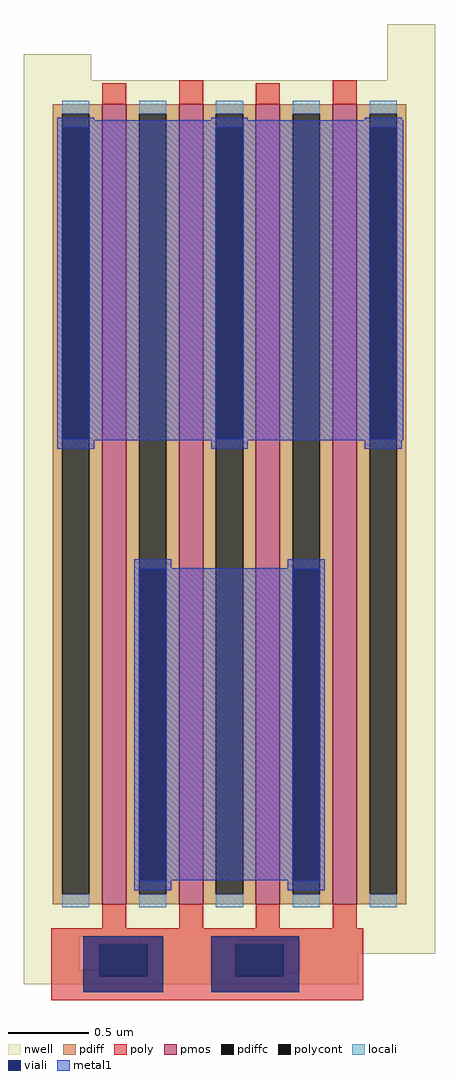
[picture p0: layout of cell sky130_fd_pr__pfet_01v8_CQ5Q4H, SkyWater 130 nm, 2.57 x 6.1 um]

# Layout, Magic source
magic
tech sky130A
magscale 1 2
<< nwell >>
rect -257 530 -173 562
rect 197 530 257 600
rect -257 -541 257 530
rect -257 -582 -188 -541
rect -111 -545 257 -541
rect -111 -582 11 -545
rect -257 -586 11 -582
rect 88 -562 257 -545
rect 88 -586 161 -562
rect -257 -600 161 -586
<< pmos >>
rect -159 -500 -129 500
rect -63 -500 -33 500
rect 33 -500 63 500
rect 129 -500 159 500
<< pdiff >>
rect -221 488 -159 500
rect -221 -488 -209 488
rect -175 -488 -159 488
rect -221 -500 -159 -488
rect -129 488 -63 500
rect -129 -488 -113 488
rect -79 -488 -63 488
rect -129 -500 -63 -488
rect -33 488 33 500
rect -33 -488 -17 488
rect 17 -488 33 488
rect -33 -500 33 -488
rect 63 488 129 500
rect 63 -488 79 488
rect 113 -488 129 488
rect 63 -500 129 -488
rect 159 488 221 500
rect 159 -488 175 488
rect 209 -488 221 488
rect 159 -500 221 -488
<< pdiffc >>
rect -209 -488 -175 488
rect -113 -488 -79 488
rect -17 -488 17 488
rect 79 -488 113 488
rect 175 -488 209 488
<< poly >>
rect -159 500 -129 526
rect -63 500 -33 530
rect 33 500 63 526
rect 129 500 159 530
rect -159 -530 -129 -500
rect -63 -530 -33 -500
rect 33 -530 63 -500
rect 129 -530 159 -500
rect -223 -550 167 -530
rect -223 -590 -163 -550
rect -103 -590 7 -550
rect 67 -590 167 -550
rect -223 -620 167 -590
<< polycont >>
rect -163 -590 -103 -550
rect 7 -590 67 -550
<< locali >>
rect -209 488 -175 504
rect -209 -504 -175 -488
rect -113 488 -79 504
rect -113 -504 -79 -488
rect -17 488 17 504
rect -17 -504 17 -488
rect 79 488 113 504
rect 79 -504 113 -488
rect 175 488 209 504
rect 175 -504 209 -488
<< viali >>
rect -209 81 -175 471
rect -113 -471 -79 -81
rect -17 81 17 471
rect 79 -471 113 -81
rect 175 81 209 471
rect -183 -550 -83 -540
rect -183 -590 -163 -550
rect -163 -590 -103 -550
rect -103 -590 -83 -550
rect -183 -610 -83 -590
rect -23 -550 87 -540
rect -23 -590 7 -550
rect 7 -590 67 -550
rect 67 -590 87 -550
rect -23 -610 87 -590
<< metal1 >>
rect -215 480 -169 483
rect -23 480 23 483
rect 169 480 215 483
rect -215 471 217 480
rect -215 81 -209 471
rect -175 81 -17 471
rect 17 81 175 471
rect 209 81 217 471
rect -215 80 217 81
rect -215 69 -169 80
rect -23 69 23 80
rect 169 69 215 80
rect -119 -80 -73 -69
rect 73 -80 119 -69
rect -119 -81 119 -80
rect -119 -471 -113 -81
rect -79 -470 79 -81
rect -79 -471 -73 -470
rect -119 -483 -73 -471
rect 73 -471 79 -470
rect 113 -471 119 -81
rect 73 -483 119 -471
<< properties >>
string gencell sky130_fd_pr__pfet_01v8
string library sky130
string parameters w 5.0 l 0.15 m 1 nf 4 diffcov 100 polycov 100 guard 0 glc 1 grc 1 gtc 1 gbc 1 tbcov 100 rlcov 100 topc 1 botc 1 poverlap 0 doverlap 1 lmin 0.15 wmin 0.42 compatible {sky130_fd_pr__pfet_01v8  sky130_fd_pr__pfet_01v8_lvt sky130_fd_pr__pfet_01v8_hvt  sky130_fd_pr__pfet_g5v0d10v5} full_metal 1 viasrc +40 viadrn -40 viagate 100 viagb 0 viagr 0 viagl 0 viagt 0
<< end >>
